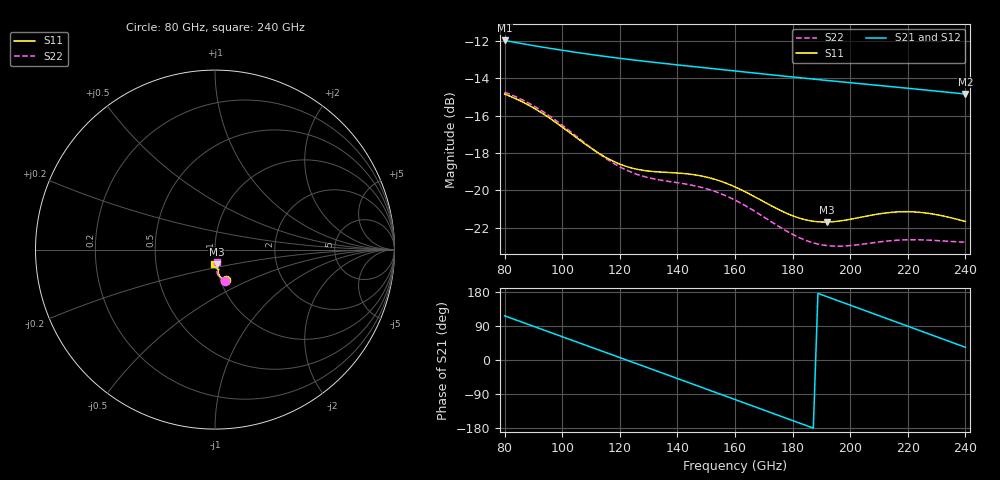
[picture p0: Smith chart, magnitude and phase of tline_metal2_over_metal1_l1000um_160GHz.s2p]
#  GHZ S DB R 50
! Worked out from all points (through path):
!   101 points, 80 GHz to 240 GHz, reference 50 ohm
!   highest |S21| = -11.97 dB at 80 GHz (marker M1); lowest = -14.8 dB at 240 GHz (marker M2)
!   group delay of S21, straight-line fit = 7.69 ps
!   lowest |S11| = -21.7 dB at 192 GHz (marker M3), VSWR 1.18, Z = 50.3 - j8.26 ohm
!   |S11| at or under -10 dB: start of sweep to end of sweep
!   |S22| runs from -23.0 to -14.7 dB; largest |S21 - S12| = 2.1e-13
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80  -14.85 -70.9  -11.97 116.5  -11.97 116.5  -14.74 -71.7
86.4  -15.28 -74.2  -12.15 98.9  -12.15 98.9  -15.17 -75.3
92.8  -15.85 -77.4  -12.32 81.3  -12.32 81.3  -15.73 -78.9
99.2  -16.53 -79.9  -12.48 63.7  -12.48 63.7  -16.42 -81.9
107.2  -17.44 -81.5  -12.66 41.7  -12.66 41.7  -17.38 -84.3
113.6  -18.10 -81.4  -12.80 24.0  -12.80 24.0  -18.13 -84.8
120  -18.60 -80.5  -12.93 6.4  -12.93 6.4  -18.75 -84.3
126.4  -18.89 -79.5  -13.05 -11.2  -13.05 -11.2  -19.17 -83.3
134.4  -19.03 -79.2  -13.19 -33.3  -13.19 -33.3  -19.47 -82.8
147.2  -19.20 -81.9  -13.40 -68.8  -13.40 -68.8  -19.80 -84.8
153.6  -19.44 -84.1  -13.50 -86.5  -13.50 -86.5  -20.10 -86.8
160  -19.82 -86.3  -13.61 -104.3  -13.61 -104.3  -20.53 -88.7
166.4  -20.31 -87.7  -13.71 -122.1  -13.71 -122.1  -21.09 -90.1
174.4  -20.98 -87.9  -13.84 -144.3  -13.84 -144.3  -21.87 -90.1
180.8  -21.42 -86.7  -13.94 -162.0  -13.94 -162.0  -22.43 -88.7
187.2  -21.67 -84.8  -14.04 -179.8  -14.04 -179.8  -22.82 -86.3
192  -21.71 -83.5  -14.11 166.9  -14.11 166.9  -22.97 -84.3
204.8  -21.42 -82.3  -14.31 131.4  -14.31 131.4  -22.88 -80.7
214.4  -21.19 -84.4  -14.45 104.7  -14.45 104.7  -22.70 -80.4
220.8  -21.15 -86.5  -14.55 86.9  -14.55 86.9  -22.66 -81.0
227.2  -21.24 -88.8  -14.64 69.1  -14.64 69.1  -22.68 -81.5
240  -21.68 -92.6  -14.84 33.5  -14.84 33.5  -22.78 -82.0
